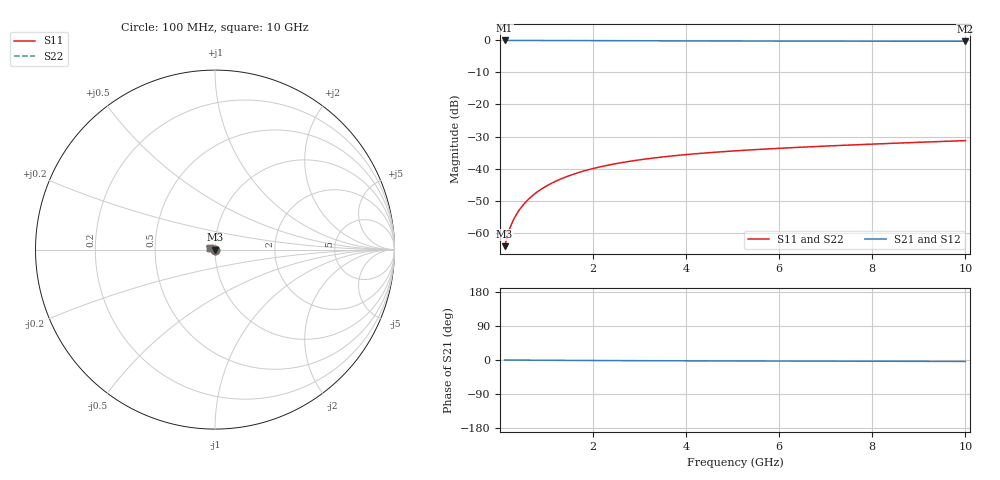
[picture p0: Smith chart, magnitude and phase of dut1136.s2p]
! Touchstone file exported from HFSS 2024.1.0
!  File:  C:/UserFiles/LocalFiles/RDL_TSV_Batchsim/temp_TSV1_1136_1780070461.aedt
!  Generated:  12:07:40 AM May 30, 2026
!  Design:  TSV1
!  Project:  temp_TSV1_1136_1780070461
!  Setup:  Setup1
!  Solution:  Sweep
! Variables:
!  dtsv = 6.22um
!  hbump = 3um
!  htsv = 54.94um
!  lrdl = 252.1521522um
!  p = 40
!  p1 = 43um
!  t = 500um
!  trdl = 3um
!  wrdl = 24.89489489um
# GHz S MA R 50.000000
! Terminal data exported
! Port[1] = TSV22_T1
! Port[2] = TSV22_T2
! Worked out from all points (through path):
!   100 points, 100 MHz to 10 GHz, reference 50 ohm
!   highest |S21| = 0.00 dB at 100 MHz (marker M1); lowest = -0.3 dB at 10 GHz (marker M2)
!   lowest |S11| = -64.2 dB at 100 MHz (marker M3), VSWR 1.00, Z = 50 - j0.0549 ohm
!   |S11| at or under -10 dB: start of sweep to end of sweep
!   |S22| runs from -64.2 to -31.3 dB; largest |S21 - S12| = 1.2e-14
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0.1  0.000614 -63.3  0.9997 -0.1  0.9997 -0.1  0.000614 -63.3
! Gamma 0 0 0 0
! Port Impedance 50 0 50 0
0.2  0.001117 -78.9  0.9996 -0.2  0.9996 -0.2  0.001117 -78.9
0.3  0.001644 -85.9  0.9995 -0.2  0.9995 -0.2  0.001644 -85.9
0.4  0.002179 -90.5  0.9994 -0.3  0.9994 -0.3  0.002179 -90.5
0.5  0.002715 -94.0  0.9992 -0.4  0.9992 -0.4  0.002715 -94.0
0.6  0.00325 -96.9  0.999 -0.5  0.999 -0.5  0.00325 -96.9
0.7  0.003782 -99.5  0.9987 -0.5  0.9987 -0.5  0.003782 -99.5
0.8  0.004309 -101.9  0.9984 -0.6  0.9984 -0.6  0.004309 -101.9
0.9  0.00483 -104.1  0.9981 -0.7  0.9981 -0.7  0.00483 -104.1
1.1  0.005851 -108.4  0.9975 -0.8  0.9975 -0.8  0.005851 -108.4
1.4  0.00732 -114.2  0.9963 -1.0  0.9963 -1.0  0.00732 -114.2
1.6  0.008253 -117.9  0.9954 -1.1  0.9954 -1.1  0.008253 -117.9
1.8  0.009147 -121.5  0.9945 -1.2  0.9945 -1.2  0.009147 -121.5
2.1  0.01041 -126.6  0.993 -1.4  0.993 -1.4  0.01041 -126.6
2.5  0.01196 -132.9  0.9911 -1.6  0.9911 -1.6  0.01196 -132.9
2.9  0.01335 -138.9  0.9891 -1.8  0.9891 -1.8  0.01335 -138.9
3.4  0.01489 -145.7  0.9868 -2.0  0.9868 -2.0  0.01489 -145.7
4.2  0.017 -155.5  0.9835 -2.2  0.9835 -2.2  0.017 -155.5
5.1  0.01898 -164.9  0.9804 -2.5  0.9804 -2.5  0.01898 -164.9
6.7  0.02192 -178.8  0.9763 -2.9  0.9763 -2.9  0.02192 -178.8
8.4  0.02471 169.5  0.9734 -3.4  0.9734 -3.4  0.02471 169.5
10  0.0273 160.5  0.9715 -3.8  0.9715 -3.8  0.0273 160.5
